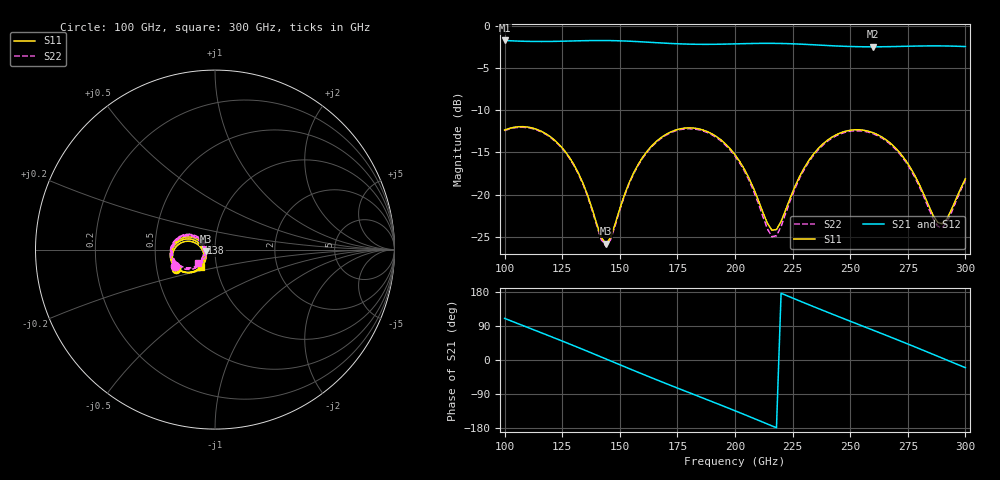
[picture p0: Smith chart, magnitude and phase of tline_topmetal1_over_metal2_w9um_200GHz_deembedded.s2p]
! Created with skrf 2.0.1 (http://scikit-rf.org).
# GHz S DB R 50.0
!freq dBS11 angS11 dBS21 angS21 dBS12 angS12 dBS22 angS22
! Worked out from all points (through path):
!   101 points, 100 GHz to 300 GHz, reference 50 ohm
!   highest |S21| = -1.75 dB at 100 GHz (marker M1); lowest = -2.5 dB at 260 GHz (marker M2)
!   group delay of S21, straight-line fit = 6.81 ps
!   lowest |S11| = -25.8 dB at 144 GHz (marker M3), VSWR 1.11, Z = 45.2 - j0.915 ohm
!   |S11| at or under -10 dB: start of sweep to end of sweep
!   |S22| runs from -26.1 to -12.0 dB; largest |S21 - S12| = 9.4e-14
!   S11 on the Smith chart (normalised r, x): 100 GHz: 0.63, -0.14; 138 GHz: 0.86, +0.06; 300 GHz: 0.84, -0.16
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100  -12.36 -153.6  -1.75 109.8  -1.75 109.8  -12.42 -158.1
116  -12.51 175.2  -1.87 71.7  -1.87 71.7  -12.58 169.9
126  -14.79 157.8  -1.84 47.6  -1.84 47.6  -14.87 151.9
134  -18.64 149.8  -1.78 27.9  -1.78 27.9  -18.75 143.4
138  -21.68 153.3  -1.77 17.9  -1.77 17.9  -21.84 146.6
144  -25.81 -168.6  -1.76 2.7  -1.76 2.7  -26.09 -174.9
156  -17.43 -128.2  -1.86 -27.6  -1.86 -27.6  -17.53 -134.6
168  -13.23 -145.1  -2.05 -57.1  -2.05 -57.1  -13.32 -152.3
184  -12.20 -174.2  -2.21 -95.4  -2.21 -95.4  -12.30 177.5
200  -15.27 159.9  -2.16 -133.9  -2.16 -133.9  -15.42 150.3
208  -19.21 156.0  -2.11 -153.7  -2.11 -153.7  -19.50 145.3
216  -24.20 -173.7  -2.10 -173.8  -2.10 -173.8  -24.97 176.9
218  -24.12 -158.4  -2.10 -178.8  -2.10 -178.8  -24.86 -166.4
224  -20.36 -132.3  -2.14 166.0  -2.14 166.0  -20.68 -139.5
234  -15.22 -134.8  -2.26 141.1  -2.26 141.1  -15.37 -143.4
248  -12.49 -156.7  -2.45 107.2  -2.45 107.2  -12.60 -166.6
260  -12.67 -177.4  -2.50 78.5  -2.50 78.5  -12.79 171.8
268  -14.04 170.1  -2.48 59.3  -2.48 59.3  -14.17 158.7
278  -17.71 160.9  -2.42 34.8  -2.42 34.8  -17.90 148.5
288  -23.29 -173.2  -2.40 9.8  -2.40 9.8  -23.74 174.5
292  -22.83 -147.9  -2.41 -0.2  -2.41 -0.2  -23.23 -159.2
300  -18.11 -129.3  -2.47 -20.3  -2.47 -20.3  -18.30 -141.0
